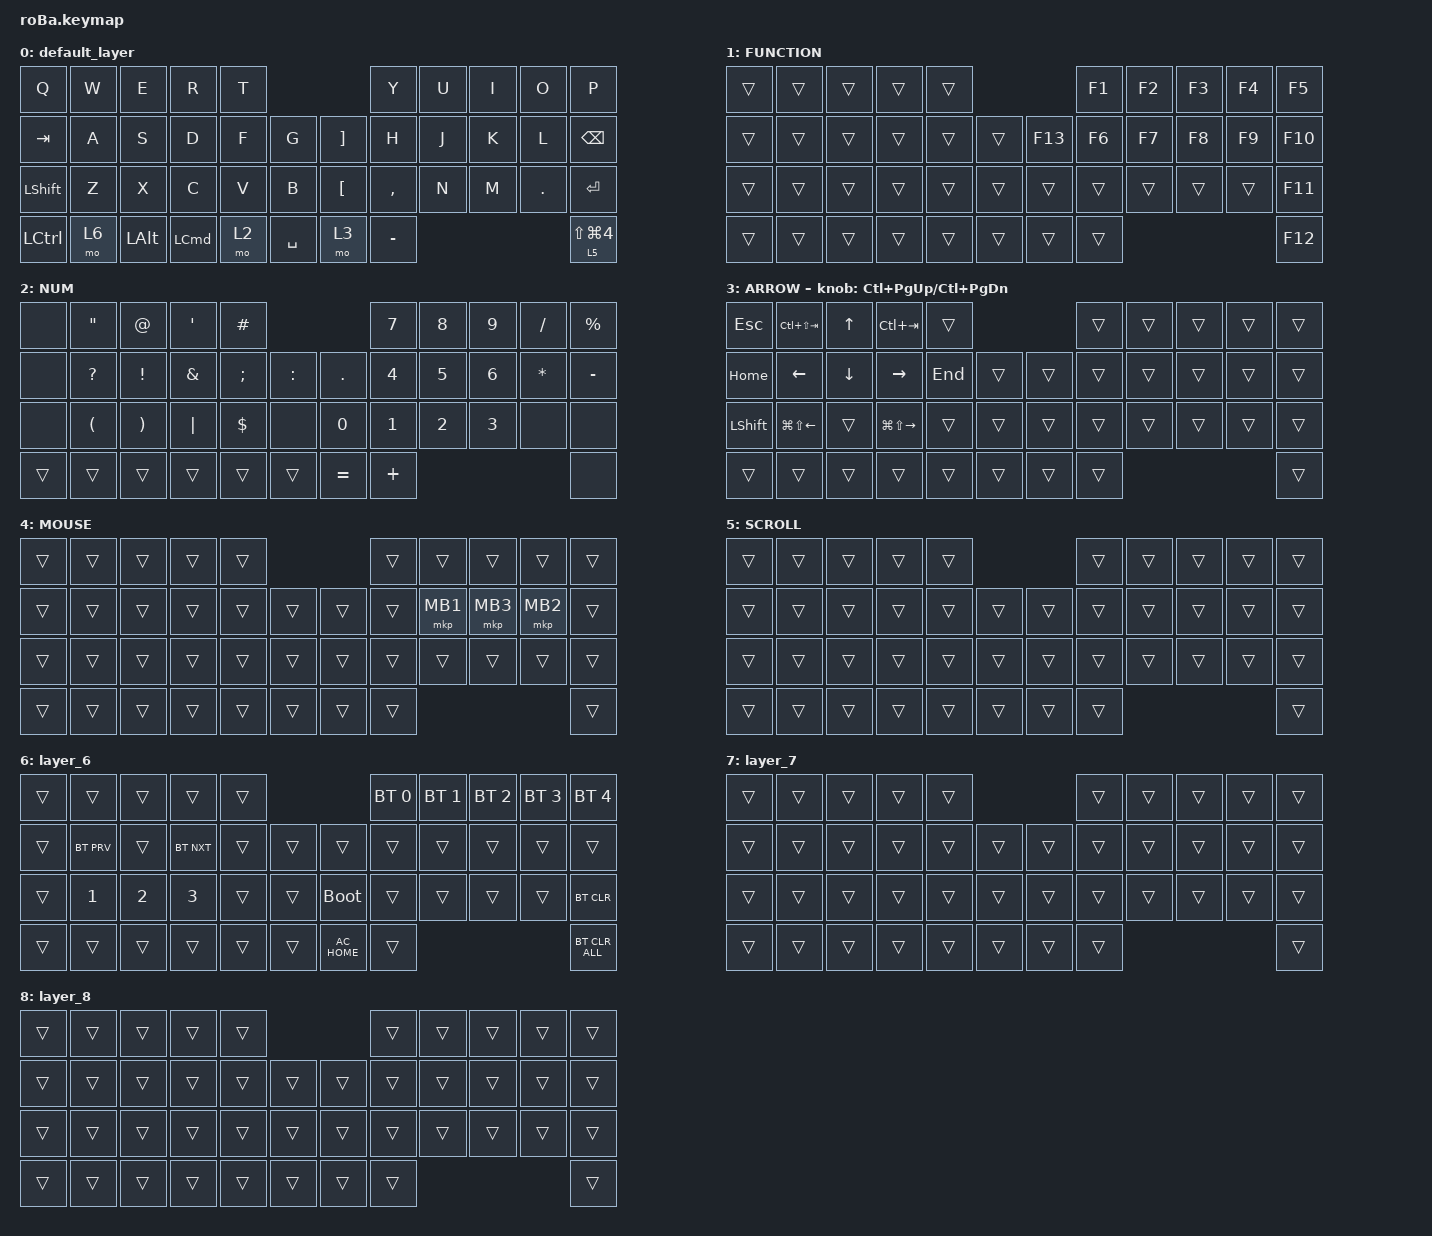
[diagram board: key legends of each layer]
#include <behaviors.dtsi>
#include <dt-bindings/zmk/bt.h>
#include <dt-bindings/zmk/keys.h>
#include <dt-bindings/zmk/pointing.h>

&mt {
    flavor = "balanced";
    quick-tap-ms = <0>;
};

&trackball {
    automouse-layer = <4>;
    scroll-layers = <5>;

    // arrows {
    //     layers = <3>;
    //     bindings =
    //         <&kp RIGHT_ARROW>,
    //         <&kp LEFT_ARROW>,
    //         <&kp UP_ARROW>,
    //         <&kp DOWN_ARROW>;
    //     tick = <10>;
    //     wait-ms = <5>;
    //     tap-ms = <5>;
    // };
};

/ {
    combos {
        compatible = "zmk,combos";

        tab {
            bindings = <&kp TAB>;
            key-positions = <11 12>;
        };

        shift_tab {
            bindings = <&kp LS(TAB)>;
            key-positions = <12 13>;
        };

        muhennkann {
            bindings = <&to_layer_0 INT_MUHENKAN>;
            key-positions = <11 10>;
        };

        double_quotation {
            bindings = <&kp DOUBLE_QUOTES>;
            key-positions = <20 21>;
        };

        eq {
            bindings = <&kp EQUAL>;
            key-positions = <24 25>;
        };
    };

    macros {
        to_layer_0: to_layer_0 {
            compatible = "zmk,behavior-macro-one-param";
            #binding-cells = <1>;
            bindings = <&to 1 &macro_param_1to1 &kp MACRO_PLACEHOLDER>;
            label = "TO_LAYER_0";
        };
    };

    behaviors {
        lt_to_layer_0: lt_to_layer_0 {
            compatible = "zmk,behavior-hold-tap";
            label = "LAYER_TAP_TO_0";
            bindings = <&mo>, <&to_layer_0>;

            #binding-cells = <2>;
            tapping-term-ms = <200>;
        };
    };

    keymap {
        compatible = "zmk,keymap";

        default_layer {
            bindings = <
&kp Q       &kp W  &kp E         &kp R             &kp T                                    &kp Y      &kp U  &kp I  &kp O    &kp P
&kp TAB     &kp A  &kp S         &kp D             &kp F  &kp G          &kp RIGHT_BRACKET  &kp H      &kp J  &kp K  &kp L    &kp BACKSPACE
&kp LSHIFT  &kp Z  &kp X         &kp C             &kp V  &kp B          &kp LEFT_BRACKET   &kp COMMA  &kp N  &kp M  &kp DOT  &kp ENTER
&kp LCTRL   &mo 6  &kp LEFT_ALT  &kp LEFT_COMMAND  &mo 2  &kp SPACE      &mo 3              &kp MINUS                         &lt_to_layer_0 5 LS(LG(NUMBER_4))
            >;
        };

        FUNCTION {
            bindings = <
&trans  &trans  &trans  &trans  &trans                       &kp F1  &kp F2  &kp F3  &kp F4  &kp F5
&trans  &trans  &trans  &trans  &trans  &trans      &kp F13  &kp F6  &kp F7  &kp F8  &kp F9  &kp F10
&trans  &trans  &trans  &trans  &trans  &trans      &trans   &trans  &trans  &trans  &trans  &kp F11
&trans  &trans  &trans  &trans  &trans  &trans      &trans   &trans                          &kp F12
            >;
        };

        NUM {
            bindings = <
&none   &kp DQT               &kp AT                 &kp SINGLE_QUOTE  &kp POUND                                &kp N7        &kp N8        &kp N9        &kp SLASH  &kp PERCENT
&none   &kp QMARK             &kp EXCLAMATION        &kp AMPERSAND     &kp SEMICOLON  &kp COLON      &kp DOT    &kp NUMBER_4  &kp N5        &kp NUMBER_6  &kp ASTRK  &kp MINUS
&none   &kp LEFT_PARENTHESIS  &kp RIGHT_PARENTHESIS  &kp PIPE          &kp DLLR       &none          &kp N0     &kp NUMBER_1  &kp NUMBER_2  &kp NUMBER_3  &none      &none
&trans  &trans                &trans                 &trans            &trans         &trans         &kp EQUAL  &kp PLUS                                             &none
            >;
        };

        ARROW {
            bindings = <
&kp ESCAPE      &kp LC(LS(TAB))         &kp UP_ARROW    &kp LC(TAB)              &trans                       &trans  &trans  &trans  &trans  &trans
&kp HOME        &kp LEFT_ARROW          &kp DOWN_ARROW  &kp RIGHT_ARROW          &kp END  &trans      &trans  &trans  &trans  &trans  &trans  &trans
&kp LEFT_SHIFT  &kp LG(LS(LEFT_ARROW))  &trans          &kp LG(LS(RIGHT_ARROW))  &trans   &trans      &trans  &trans  &trans  &trans  &trans  &trans
&trans          &trans                  &trans          &trans                   &trans   &trans      &trans  &trans                          &trans
            >;

            sensor-bindings = <&inc_dec_kp LC(PAGE_UP) LC(PAGE_DOWN)>;
        };

        MOUSE {
            bindings = <
&trans  &trans  &trans  &trans  &trans                      &trans  &trans    &trans    &trans    &trans
&trans  &trans  &trans  &trans  &trans  &trans      &trans  &trans  &mkp MB1  &mkp MB3  &mkp MB2  &trans
&trans  &trans  &trans  &trans  &trans  &trans      &trans  &trans  &trans    &trans    &trans    &trans
&trans  &trans  &trans  &trans  &trans  &trans      &trans  &trans                                &trans
            >;
        };

        SCROLL {
            bindings = <
&trans  &trans  &trans  &trans  &trans                      &trans  &trans  &trans  &trans  &trans
&trans  &trans  &trans  &trans  &trans  &trans      &trans  &trans  &trans  &trans  &trans  &trans
&trans  &trans  &trans  &trans  &trans  &trans      &trans  &trans  &trans  &trans  &trans  &trans
&trans  &trans  &trans  &trans  &trans  &trans      &trans  &trans                          &trans
            >;
        };

        layer_6 {
            bindings = <
&trans  &trans        &trans        &trans        &trans                             &bt BT_SEL 0  &bt BT_SEL 1  &bt BT_SEL 2  &bt BT_SEL 3  &bt BT_SEL 4
&trans  &bt BT_PRV    &trans        &bt BT_NXT    &trans  &trans      &trans         &trans        &trans        &trans        &trans        &trans
&trans  &kp NUMBER_1  &kp NUMBER_2  &kp NUMBER_3  &trans  &trans      &bootloader    &trans        &trans        &trans        &trans        &bt BT_CLR
&trans  &trans        &trans        &trans        &trans  &trans      &kp C_AC_HOME  &trans                                                  &bt BT_CLR_ALL
            >;
        };

        layer_7 {
            bindings = <
&trans  &trans  &trans  &trans  &trans                      &trans  &trans  &trans  &trans  &trans
&trans  &trans  &trans  &trans  &trans  &trans      &trans  &trans  &trans  &trans  &trans  &trans
&trans  &trans  &trans  &trans  &trans  &trans      &trans  &trans  &trans  &trans  &trans  &trans
&trans  &trans  &trans  &trans  &trans  &trans      &trans  &trans                          &trans
            >;
        };

        layer_8 {
            bindings = <
&trans  &trans  &trans  &trans  &trans                      &trans  &trans  &trans  &trans  &trans
&trans  &trans  &trans  &trans  &trans  &trans      &trans  &trans  &trans  &trans  &trans  &trans
&trans  &trans  &trans  &trans  &trans  &trans      &trans  &trans  &trans  &trans  &trans  &trans
&trans  &trans  &trans  &trans  &trans  &trans      &trans  &trans                          &trans
            >;
        };
    };
};
